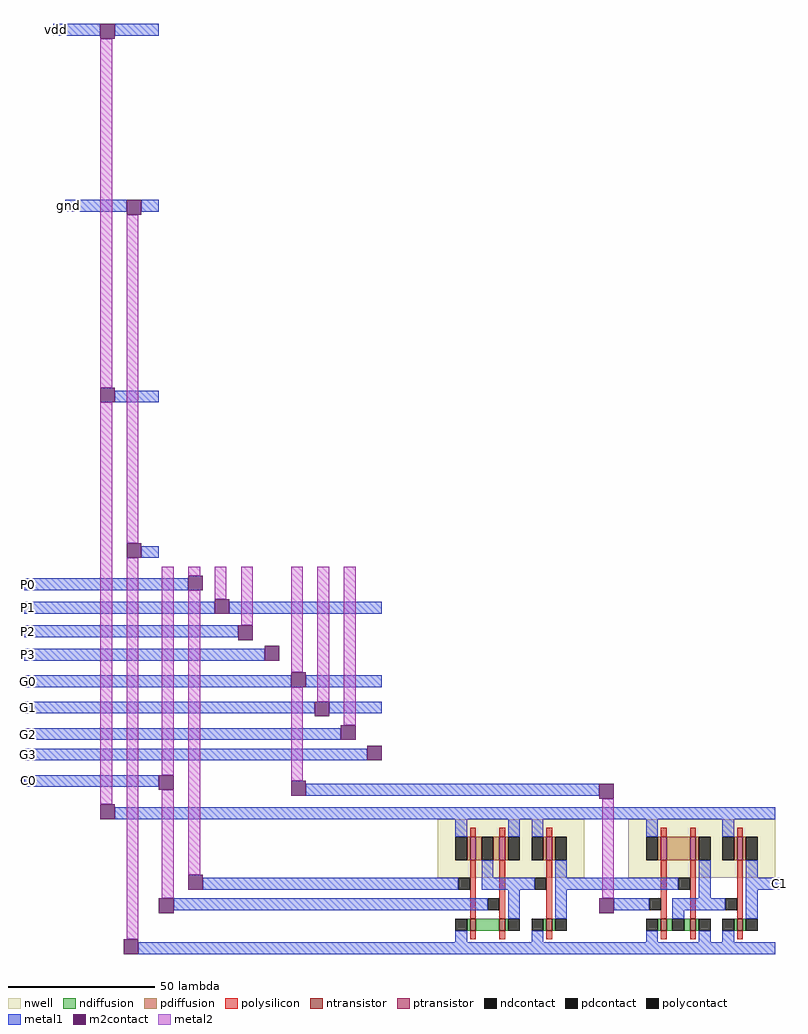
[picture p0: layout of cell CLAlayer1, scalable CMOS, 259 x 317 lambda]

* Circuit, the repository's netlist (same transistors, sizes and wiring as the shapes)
* SPICE3 file created from CLAlayer1.ext - technology: scmos

.include TSMC_180nm.txt
.param SUPPLY=1.8
.option scale=0.09u
.global vdd gnd

Vdd vdd gnd SUPPLY
vA0 P0 gnd pulse 0 1.8 0us 100ps 100ps 9.9us 20us
vA1 P1 gnd pulse 0 1.8 0us 100ps 100ps 9.9us 20us
vA2 P2 gnd pulse 0 1.8 0us 100ps 100ps 9.9us 20us
vA3 P3 gnd pulse 0 1.8 0us 100ps 100ps 9.9us 20us
vB0 G0 gnd pulse 0 1.8 0us 100ps 100ps 19.8us 40us
vB1 G1 gnd pulse 0 1.8 0us 100ps 100ps 19.8us 40us
vB2 G2 gnd pulse 0 1.8 0us 100ps 100ps 19.8us 40us
vB3 G3 gnd pulse 0 1.8 0us 100ps 100ps 19.8us 40us
vC0 C0 gnd pulse 0 1.8 0us 100ps 100ps 19.6us 40us

M1000 or_0/B and_0/a_13_9# gnd Gnd CMOSN w=4 l=2
+  ad=20 pd=18 as=100 ps=90
M1001 vdd C0 and_0/a_13_9# and_0/w_0_3# CMOSP w=8 l=2
+  ad=200 pd=130 as=64 ps=32
M1002 and_0/a_13_9# C0 and_0/a_13_n15# Gnd CMOSN w=4 l=2
+  ad=20 pd=18 as=32 ps=24
M1003 and_0/a_13_9# P0 vdd and_0/w_0_3# CMOSP w=8 l=2
+  ad=0 pd=0 as=0 ps=0
M1004 and_0/a_13_n15# P0 gnd Gnd CMOSN w=4 l=2
+  ad=0 pd=0 as=0 ps=0
M1005 or_0/B and_0/a_13_9# vdd and_0/w_0_3# CMOSP w=8 l=2
+  ad=40 pd=26 as=0 ps=0
M1006 C1 or_0/a_13_n15# gnd Gnd CMOSN w=4 l=2
+  ad=20 pd=18 as=0 ps=0
M1007 or_0/a_13_n15# or_0/B or_0/a_13_9# or_0/w_0_3# CMOSP w=8 l=2
+  ad=40 pd=26 as=64 ps=32
M1008 gnd or_0/B or_0/a_13_n15# Gnd CMOSN w=4 l=2
+  ad=0 pd=0 as=32 ps=24
M1009 or_0/a_13_9# G0 vdd or_0/w_0_3# CMOSP w=8 l=2
+  ad=0 pd=0 as=0 ps=0
M1010 or_0/a_13_n15# G0 gnd Gnd CMOSN w=4 l=2
+  ad=0 pd=0 as=0 ps=0
M1011 C1 or_0/a_13_n15# vdd or_0/w_0_3# CMOSP w=8 l=2
+  ad=40 pd=26 as=0 ps=0

.tran 0.1u 80us
.control
run

plot v(P0)
plot v(G0)

plot v(P1)
plot v(G1)

plot v(P2)
plot  v(P3)

plot v(C0)
plot v(C1)
plot v(C2)
plot v(C3)

.endc
.end

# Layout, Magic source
magic
tech scmos
<< metal1 >>
rect -31 180 -15 184
rect -10 180 5 184
rect -27 120 -6 124
rect -1 120 5 124
rect -10 55 5 59
rect -1 2 5 6
rect -41 -9 15 -5
rect -41 -17 24 -13
rect 29 -17 81 -13
rect -41 -25 32 -21
rect -41 -33 41 -29
rect -41 -42 50 -38
rect 55 -42 81 -38
rect -41 -51 58 -47
rect 63 -51 81 -47
rect -41 -60 67 -56
rect -41 -67 76 -63
rect -41 -76 5 -72
rect 55 -79 155 -75
rect -10 -87 165 -83
rect 20 -111 107 -107
rect 150 -111 165 -107
rect 215 -111 218 -107
rect 10 -118 117 -114
rect 160 -118 165 -114
rect -2 -133 165 -129
<< m2contact >>
rect -15 179 -10 184
rect -6 119 -1 124
rect -15 55 -10 60
rect -6 2 -1 7
rect 15 -9 20 -4
rect 24 -17 29 -12
rect 32 -26 37 -21
rect 41 -33 46 -28
rect 50 -42 55 -37
rect 58 -52 63 -47
rect 67 -60 72 -55
rect 76 -67 81 -62
rect 5 -77 10 -72
rect 50 -79 55 -74
rect 155 -80 160 -75
rect -15 -87 -10 -82
rect 15 -111 20 -106
rect 5 -119 10 -114
rect 155 -119 160 -114
rect -7 -133 -2 -128
<< metal2 >>
rect -15 60 -11 179
rect -15 -82 -11 55
rect -6 7 -2 119
rect -6 -128 -2 2
rect 6 -72 10 -1
rect 6 -114 10 -77
rect 15 -4 19 -1
rect 15 -106 19 -9
rect 24 -12 28 -1
rect 33 -21 37 -1
rect 50 -37 54 -1
rect 50 -74 54 -42
rect 59 -47 63 -1
rect 68 -55 72 -1
rect 156 -114 160 -80
use and  and_0
transform 1 0 100 0 1 -110
box 0 -23 50 27
use or  or_0
transform 1 0 165 0 1 -110
box 0 -23 50 27
<< labels >>
rlabel metal1 -27 120 -25 124 1 gnd
rlabel metal1 -31 180 -29 184 5 vdd
rlabel metal1 215 -111 218 -107 1 C1
rlabel metal1 -41 -76 -38 -72 3 C0
rlabel metal1 -41 -67 -38 -63 3 G3
rlabel metal1 -41 -60 -38 -56 3 G2
rlabel metal1 -41 -51 -38 -47 3 G1
rlabel metal1 -41 -42 -38 -38 3 G0
rlabel metal1 -41 -33 -38 -29 3 P3
rlabel metal1 -41 -25 -38 -21 3 P2
rlabel metal1 -41 -17 -38 -13 3 P1
rlabel metal1 -41 -9 -38 -5 3 P0
<< end >>

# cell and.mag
magic
tech scmos
<< nwell >>
rect 0 3 50 23
<< ntransistor >>
rect 11 -15 13 -11
rect 21 -15 23 -11
rect 37 -15 39 -11
<< ptransistor >>
rect 11 9 13 17
rect 21 9 23 17
rect 37 9 39 17
<< ndiffusion >>
rect 10 -15 11 -11
rect 13 -15 21 -11
rect 23 -15 24 -11
rect 36 -15 37 -11
rect 39 -15 40 -11
<< pdiffusion >>
rect 10 9 11 17
rect 13 9 15 17
rect 19 9 21 17
rect 23 9 24 17
rect 36 9 37 17
rect 39 9 40 17
<< ndcontact >>
rect 6 -15 10 -11
rect 24 -15 28 -11
rect 32 -15 36 -11
rect 40 -15 44 -11
<< pdcontact >>
rect 6 9 10 17
rect 15 9 19 17
rect 24 9 28 17
rect 32 9 36 17
rect 40 9 44 17
<< polysilicon >>
rect 11 17 13 20
rect 21 17 23 20
rect 37 17 39 20
rect 11 -11 13 9
rect 21 -11 23 9
rect 37 -11 39 9
rect 11 -18 13 -15
rect 21 -18 23 -15
rect 37 -18 39 -15
<< polycontact >>
rect 7 -1 11 3
rect 17 -8 21 -4
rect 33 -1 37 3
<< metal1 >>
rect 0 23 50 27
rect 6 17 10 23
rect 24 17 28 23
rect 32 17 36 23
rect 15 3 19 9
rect 40 3 44 9
rect 0 -1 7 3
rect 15 -1 33 3
rect 40 -1 50 3
rect 0 -8 17 -4
rect 24 -11 28 -1
rect 40 -11 44 -1
rect 6 -19 10 -15
rect 32 -19 36 -15
rect 0 -23 50 -19
<< labels >>
rlabel metal1 1 25 1 25 4 vdd
rlabel metal1 16 -6 16 -6 1 B
rlabel metal1 6 1 6 1 1 A
rlabel metal1 1 -21 1 -21 2 gnd
rlabel metal1 46 0 46 0 7 andout
<< end >>

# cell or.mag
magic
tech scmos
<< nwell >>
rect 0 3 50 23
<< ntransistor >>
rect 11 -15 13 -11
rect 21 -15 23 -11
rect 37 -15 39 -11
<< ptransistor >>
rect 11 9 13 17
rect 21 9 23 17
rect 37 9 39 17
<< ndiffusion >>
rect 10 -15 11 -11
rect 13 -15 15 -11
rect 19 -15 21 -11
rect 23 -15 24 -11
rect 36 -15 37 -11
rect 39 -15 40 -11
<< pdiffusion >>
rect 10 9 11 17
rect 13 9 21 17
rect 23 9 24 17
rect 36 9 37 17
rect 39 9 40 17
<< ndcontact >>
rect 6 -15 10 -11
rect 15 -15 19 -11
rect 24 -15 28 -11
rect 32 -15 36 -11
rect 40 -15 44 -11
<< pdcontact >>
rect 6 9 10 17
rect 24 9 28 17
rect 32 9 36 17
rect 40 9 44 17
<< polysilicon >>
rect 11 17 13 20
rect 21 17 23 20
rect 37 17 39 20
rect 11 -11 13 9
rect 21 -11 23 9
rect 37 -11 39 9
rect 11 -18 13 -15
rect 21 -18 23 -15
rect 37 -18 39 -15
<< polycontact >>
rect 7 -8 11 -4
rect 17 -1 21 3
rect 33 -8 37 -4
<< metal1 >>
rect 0 23 50 27
rect 6 17 10 23
rect 32 17 36 23
rect 0 -1 17 3
rect 24 -4 28 9
rect 40 3 44 9
rect 40 -1 50 3
rect 0 -8 7 -4
rect 15 -8 33 -4
rect 15 -11 19 -8
rect 40 -11 44 -1
rect 6 -19 10 -15
rect 24 -19 28 -15
rect 32 -19 36 -15
rect 0 -23 50 -19
<< labels >>
rlabel metal1 1 25 1 25 4 vdd
rlabel metal1 29 25 29 25 4 vdd
rlabel metal1 16 1 16 1 1 B
rlabel metal1 1 -21 1 -21 2 gnd
rlabel metal1 6 -6 6 -6 1 A
rlabel metal1 46 1 46 1 7 orout
<< end >>
